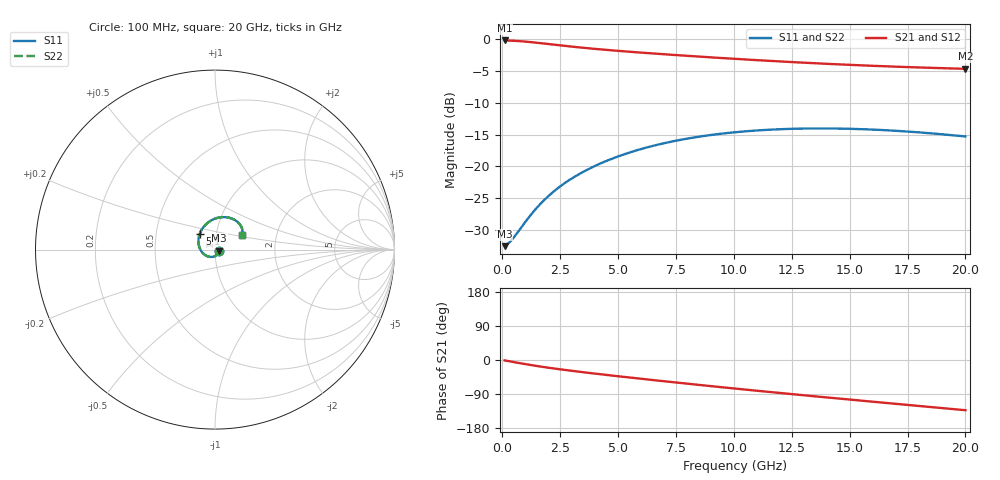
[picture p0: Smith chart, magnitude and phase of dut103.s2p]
! Created with skrf 1.9.0 (http://scikit-rf.org).
# GHz S RI R 50.0
!freq ReS11 ImS11 ReS21 ImS21 ReS12 ImS12 ReS22 ImS22
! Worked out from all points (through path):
!   200 points, 100 MHz to 20 GHz, reference 50 ohm
!   highest |S21| = -0.21 dB at 100 MHz (marker M1); lowest = -4.7 dB at 20 GHz (marker M2)
!   group delay of S21, straight-line fit = 17.6 ps
!   lowest |S11| = -32.5 dB at 100 MHz (marker M3), VSWR 1.05, Z = 52.4 - j0.549 ohm
!   |S11| at or under -10 dB: start of sweep to end of sweep
!   |S22| runs from -32.5 to -14.0 dB; largest |S21 - S12| = 2.3e-15
!   S11 on the Smith chart (normalised r, x): 100 MHz: 1.05, -0.01; 5.1 GHz: 0.83, +0.15; 20 GHz: 1.33, +0.23
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0.1  0.023 -0.00524  0.9763 -0.0186  0.9763 -0.0186  0.023 -0.00524
0.4  0.0194 -0.0178  0.9698 -0.0763  0.9698 -0.0763  0.0194 -0.0178
1  -0.000582 -0.0367  0.939 -0.1817  0.939 -0.1817  -0.000582 -0.0367
1.4  -0.0191 -0.041  0.9091 -0.2427  0.9091 -0.2427  -0.0191 -0.041
1.9  -0.0426 -0.0369  0.8662 -0.3079  0.8662 -0.3079  -0.0426 -0.0369
2.2  -0.0553 -0.0302  0.8393 -0.3419  0.8393 -0.3419  -0.0553 -0.0302
2.6  -0.0696 -0.0176  0.8031 -0.3821  0.8031 -0.3821  -0.0696 -0.0176
3  -0.0803 -0.00228  0.7671 -0.4176  0.7671 -0.4176  -0.0803 -0.00228
3.5  -0.0887 0.0189  0.7227 -0.4569  0.7227 -0.4569  -0.0887 0.0189
4.3  -0.0921 0.0538  0.6531 -0.5107  0.6531 -0.5107  -0.0921 0.0538
5.1  -0.0855 0.0864  0.5845 -0.5554  0.5845 -0.5554  -0.0855 0.0864
5.9  -0.0719 0.1147  0.5163 -0.5924  0.5163 -0.5924  -0.0719 0.1147
6.8  -0.0509 0.1404  0.4402 -0.6254  0.4402 -0.6254  -0.0509 0.1404
7.6  -0.0293 0.1577  0.3732 -0.6475  0.3732 -0.6475  -0.0293 0.1577
8.4  -0.00633 0.17  0.3073 -0.6632  0.3073 -0.6632  -0.00633 0.17
10.1  0.0421 0.181  0.1726 -0.6773  0.1726 -0.6773  0.0421 0.181
11.7  0.0822 0.1766  0.0548 -0.6701  0.0548 -0.6701  0.0822 0.1766
13.4  0.1156 0.1616  -0.0596 -0.645  -0.0596 -0.645  0.1156 0.1616
15  0.1371 0.1421  -0.1566 -0.608  -0.1566 -0.608  0.1371 0.1421
16.7  0.1497 0.1198  -0.2486 -0.5573  -0.2486 -0.5573  0.1497 0.1198
18.4  0.1532 0.0994  -0.3293 -0.4965  -0.3293 -0.4965  0.1532 0.0994
20  0.1499 0.084  -0.395 -0.4311  -0.395 -0.4311  0.1499 0.084
